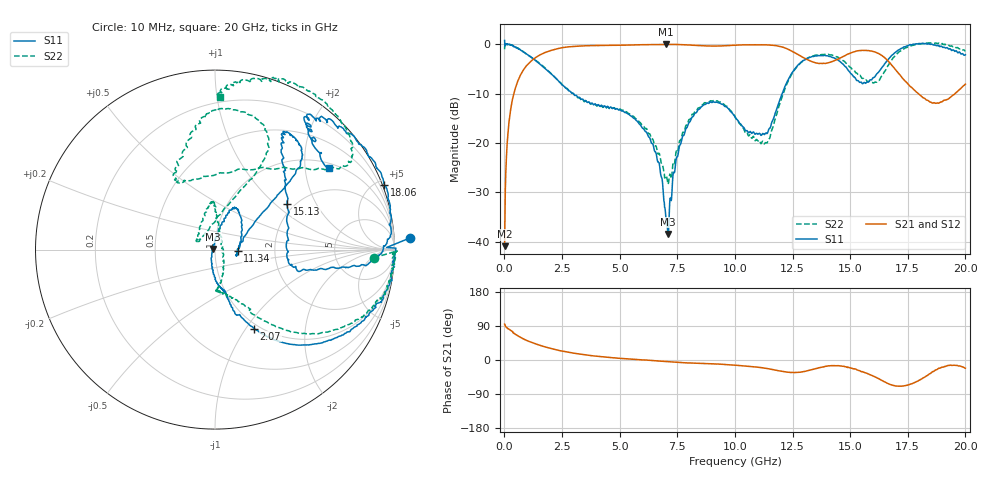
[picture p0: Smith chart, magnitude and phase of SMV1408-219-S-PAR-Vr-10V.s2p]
! Skyworks SMV1408-219 De-embedded S-Parameter Data
! Created  11-5-2013
! 2 Port Network Data
! Mounted on Board # SK41159-3 Rev 1 in Series, Cathode is connected to RF1 as Input( Pin 1) and Anode is connected RF2 as Output(Pin 2)
! Temperature = +25 °C
! RF traces and connectors are de-embedded using TRL calibration and standards
! Reference planes are package pins
! Pin 1 Input port (S-Port1), Pin 2 Output port (S-port2)
! Pin = 0 dBm, Bias: Vr = 10V
! Dev # 1
#  HZ  S  DB  R  50.00
! Rohde & Schwarz ZVA24 4Ports - Version 2.90 - 1145.1110k26 SN: 100216
! Date: 2013-11-05 15:27:27
! Measurements: S11 S21 S12 S22
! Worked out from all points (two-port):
!   2000 points, 10 MHz to 20 GHz, reference 50 ohm
!   highest |S21| = -0.06 dB at 7.01 GHz (marker M1); lowest = -40.9 dB at 10 MHz (marker M2)
!   |S21| within 3 dB of the highest: 1.254 GHz to 13.11 GHz (11.85 GHz wide, 165 % of centre); 14.47 GHz to 16.57 GHz (2.099 GHz wide, 13.5 % of centre)
!   lowest |S11| = -38.4 dB at 7.1 GHz (marker M3), VSWR 1.02, Z = 48.9 + j0.414 ohm
!   |S11| at or under -10 dB: 2.993 GHz to 12.06 GHz (9.063 GHz wide, 120 % of centre)
!   |S22| runs from -28.3 to 0.2 dB; largest |S21 - S12| = 0.034
!   S11 on the Smith chart (normalised r, x): 10 MHz: -16, +11; 2.07 GHz: 0.94, -1.09; 11.34 GHz: 1.29, -0.02; 15.13 GHz: 1.83, +1.20; 18.06 GHz: -0.14, +5.42; 20 GHz: 1.15, +2.68
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1e7  0.74 3.4  -40.87 94.7  -41.14 92.2  -1.06 -3.0
1.8e8  -0.06 -9.0  -16.75 82.0  -16.77 82.1  -0.09 -8.1
4.6e8  -0.61 -22.0  -9.20 68.5  -9.20 68.7  -0.52 -19.3
2.07e9  -6.18 -63.7  -1.21 29.6  -1.22 29.7  -6.18 -54.8
3.35e9  -11.16 -75.5  -0.37 14.9  -0.38 14.8  -11.26 -72.8
5.6e9  -14.97 -87.7  -0.17 1.8  -0.18 2.0  -14.61 -80.0
6.68e9  -23.88 -106.7  -0.07 -2.7  -0.09 -2.5  -22.23 -55.0
7.01e9  -35.43 -158.6  -0.06 -3.9  -0.08 -3.9  -26.70 -9.0
7.1e9  -38.40 159.4  -0.07 -4.4  -0.08 -4.4  -28.35 8.4
7.53e9  -22.47 81.5  -0.09 -6.4  -0.10 -6.2  -21.62 71.7
8.19e9  -14.63 71.6  -0.23 -8.1  -0.25 -8.5  -14.18 89.7
1.001e10  -14.74 35.1  -0.22 -13.6  -0.23 -13.6  -14.75 111.8
1.134e10  -17.99 -4.3  -0.15 -22.0  -0.16 -21.6  -19.94 133.4
1.334e10  -2.51 50.4  -3.54 -25.5  -3.55 -25.1  -2.45 70.6
1.424e10  -2.72 58.6  -3.49 -15.0  -3.50 -14.8  -2.27 91.6
1.513e10  -6.46 32.4  -1.60 -22.9  -1.61 -22.4  -5.25 109.4
1.591e10  -7.24 -10.9  -1.40 -40.0  -1.40 -39.6  -7.80 109.2
1.667e10  -2.99 -8.2  -3.54 -62.6  -3.54 -62.7  -4.20 46.9
1.731e10  -0.63 -0.9  -7.10 -68.6  -7.11 -68.2  -0.99 33.3
1.806e10  0.08 20.9  -10.38 -51.5  -10.38 -51.3  0.09 47.5
1.891e10  -0.47 48.7  -11.74 -21.2  -11.75 -20.1  0.03 69.5
2e10  -2.15 35.6  -8.10 -21.7  -8.10 -21.2  -1.40 88.3
